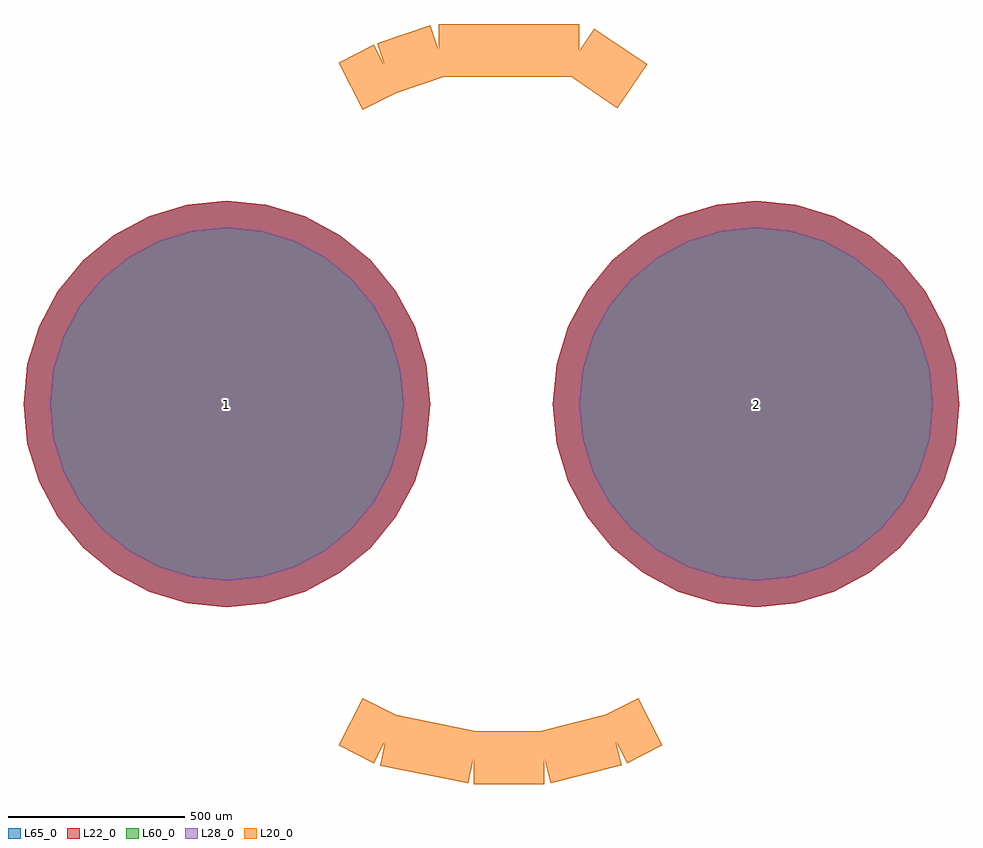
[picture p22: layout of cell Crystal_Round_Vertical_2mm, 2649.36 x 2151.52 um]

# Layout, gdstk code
import gdstk
lib = gdstk.Library(unit=1e-6, precision=1e-09)
def P(c, l, *ps):  # polygons
    for p in ps: c.add(gdstk.Polygon(p, *l))
L20_0 = (20, 0)
L22_0 = (22, 0)
L28_0 = (28, 0)
L60_0 = (60, 0)
L65_0 = (65, 0)

crystal_round_vertical_2 = lib.new_cell('Crystal_Round_Vertical_2mm')
P(crystal_round_vertical_2, L22_0, [(1324.68,0),(1313.624,112.251),(1280.882,220.188),(1227.711,319.664),(1156.155,406.855),(1068.964,478.411),(969.488,531.582),(861.551,564.324),(749.3,575.38),(637.049,564.324),(529.112,531.582),(429.636,478.411),(342.445,406.855),(270.889,319.664),(217.718,220.188),(184.976,112.251),(173.92,0),(184.976,-112.251),(217.718,-220.188),(270.889,-319.664),(342.445,-406.855),(429.636,-478.411),(529.112,-531.582),(637.049,-564.324),(749.3,-575.38),(861.551,-564.324),(969.488,-531.582),(1068.964,-478.411),(1156.155,-406.855),(1227.711,-319.664),(1280.882,-220.188),(1313.624,-112.251)],
  [(-173.92,0),(-184.976,112.251),(-217.718,220.188),(-270.889,319.664),(-342.445,406.855),(-429.636,478.411),(-529.112,531.582),(-637.049,564.324),(-749.3,575.38),(-861.551,564.324),(-969.488,531.582),(-1068.964,478.411),(-1156.155,406.855),(-1227.711,319.664),(-1280.882,220.188),(-1313.624,112.251),(-1324.68,0),(-1313.624,-112.251),(-1280.882,-220.188),(-1227.711,-319.664),(-1156.155,-406.855),(-1068.964,-478.411),(-969.488,-531.582),(-861.551,-564.324),(-749.3,-575.38),(-637.049,-564.324),(-529.112,-531.582),(-429.636,-478.411),(-342.445,-406.855),(-270.889,-319.664),(-217.718,-220.188),(-184.976,-112.251)])
P(crystal_round_vertical_2, L28_0, [(1249.68,0),(1240.065,97.619),(1211.591,191.487),(1165.351,277.996),(1103.122,353.822),(1027.296,416.051),(940.787,462.291),(846.919,490.765),(749.3,500.38),(651.681,490.765),(557.813,462.291),(471.304,416.051),(395.478,353.822),(333.249,277.996),(287.009,191.487),(258.535,97.619),(248.92,0),(258.535,-97.619),(287.009,-191.487),(333.249,-277.996),(395.478,-353.822),(471.304,-416.051),(557.813,-462.291),(651.681,-490.765),(749.3,-500.38),(846.919,-490.765),(940.787,-462.291),(1027.296,-416.051),(1103.122,-353.822),(1165.351,-277.996),(1211.591,-191.487),(1240.065,-97.619)],
  [(-248.92,0),(-258.535,97.619),(-287.009,191.487),(-333.249,277.996),(-395.478,353.822),(-471.304,416.051),(-557.813,462.291),(-651.681,490.765),(-749.3,500.38),(-846.919,490.765),(-940.787,462.291),(-1027.296,416.051),(-1103.122,353.822),(-1165.351,277.996),(-1211.591,191.487),(-1240.065,97.619),(-1249.68,0),(-1240.065,-97.619),(-1211.591,-191.487),(-1165.351,-277.996),(-1103.122,-353.822),(-1027.296,-416.051),(-940.787,-462.291),(-846.919,-490.765),(-749.3,-500.38),(-651.681,-490.765),(-557.813,-462.291),(-471.304,-416.051),(-395.478,-353.822),(-333.249,-277.996),(-287.009,-191.487),(-258.535,-97.619)])
P(crystal_round_vertical_2, L60_0, [(1249.68,0),(1240.065,97.619),(1211.591,191.487),(1165.351,277.996),(1103.122,353.822),(1027.296,416.051),(940.787,462.291),(846.919,490.765),(749.3,500.38),(651.681,490.765),(557.813,462.291),(471.304,416.051),(395.478,353.822),(333.249,277.996),(287.009,191.487),(258.535,97.619),(248.92,0),(258.535,-97.619),(287.009,-191.487),(333.249,-277.996),(395.478,-353.822),(471.304,-416.051),(557.813,-462.291),(651.681,-490.765),(749.3,-500.38),(846.919,-490.765),(940.787,-462.291),(1027.296,-416.051),(1103.122,-353.822),(1165.351,-277.996),(1211.591,-191.487),(1240.065,-97.619)],
  [(-248.92,0),(-258.535,97.619),(-287.009,191.487),(-333.249,277.996),(-395.478,353.822),(-471.304,416.051),(-557.813,462.291),(-651.681,490.765),(-749.3,500.38),(-846.919,490.765),(-940.787,462.291),(-1027.296,416.051),(-1103.122,353.822),(-1165.351,277.996),(-1211.591,191.487),(-1240.065,97.619),(-1249.68,0),(-1240.065,-97.619),(-1211.591,-191.487),(-1165.351,-277.996),(-1103.122,-353.822),(-1027.296,-416.051),(-940.787,-462.291),(-846.919,-490.765),(-749.3,-500.38),(-651.681,-490.765),(-557.813,-462.291),(-471.304,-416.051),(-395.478,-353.822),(-333.249,-277.996),(-287.009,-191.487),(-258.535,-97.619)])
P(crystal_round_vertical_2, L65_0, [(1324.68,0),(1313.624,112.251),(1280.882,220.188),(1227.711,319.664),(1156.155,406.855),(1068.964,478.411),(969.488,531.582),(861.551,564.324),(749.3,575.38),(637.049,564.324),(529.112,531.582),(429.636,478.411),(342.445,406.855),(270.889,319.664),(217.718,220.188),(184.976,112.251),(173.92,0),(184.976,-112.251),(217.718,-220.188),(270.889,-319.664),(342.445,-406.855),(429.636,-478.411),(529.112,-531.582),(637.049,-564.324),(749.3,-575.38),(861.551,-564.324),(969.488,-531.582),(1068.964,-478.411),(1156.155,-406.855),(1227.711,-319.664),(1280.882,-220.188),(1313.624,-112.251)],
  [(-173.92,0),(-184.976,112.251),(-217.718,220.188),(-270.889,319.664),(-342.445,406.855),(-429.636,478.411),(-529.112,531.582),(-637.049,564.324),(-749.3,575.38),(-861.551,564.324),(-969.488,531.582),(-1068.964,478.411),(-1156.155,406.855),(-1227.711,319.664),(-1280.882,220.188),(-1313.624,112.251),(-1324.68,0),(-1313.624,-112.251),(-1280.882,-220.188),(-1227.711,-319.664),(-1156.155,-406.855),(-1068.964,-478.411),(-969.488,-531.582),(-861.551,-564.324),(-749.3,-575.38),(-637.049,-564.324),(-529.112,-531.582),(-429.636,-478.411),(-342.445,-406.855),(-270.889,-319.664),(-217.718,-220.188),(-184.976,-112.251)])
crystal_round_vertical_2.add(gdstk.FlexPath([(-299.72,949.96),(-398.78,899.16)], 149.998, ends="flush", simple_path=True, layer=20, datatype=0))  # L20_0
crystal_round_vertical_2.add(gdstk.FlexPath([(-149.86,1000.76),(-299.72,949.96)], 149.998, ends="flush", simple_path=True, layer=20, datatype=0))  # L20_0
crystal_round_vertical_2.add(gdstk.FlexPath([(50.8,1000.76),(-149.86,1000.76)], 149.998, ends="flush", simple_path=True, layer=20, datatype=0))  # L20_0
crystal_round_vertical_2.add(gdstk.FlexPath([(248.92,1000.76),(50.8,1000.76)], 149.998, ends="flush", simple_path=True, layer=20, datatype=0))  # L20_0
crystal_round_vertical_2.add(gdstk.FlexPath([(398.78,899.16),(248.92,1000.76)], 149.998, ends="flush", simple_path=True, layer=20, datatype=0))  # L20_0
crystal_round_vertical_2.add(gdstk.FlexPath([(-299.72,-949.96),(-398.78,-899.16)], 149.998, ends="flush", simple_path=True, layer=20, datatype=0))  # L20_0
crystal_round_vertical_2.add(gdstk.FlexPath([(-50.8,-1000.76),(-299.72,-949.96)], 149.998, ends="flush", simple_path=True, layer=20, datatype=0))  # L20_0
crystal_round_vertical_2.add(gdstk.FlexPath([(149.86,-1000.76),(-50.8,-1000.76)], 149.998, ends="flush", simple_path=True, layer=20, datatype=0))  # L20_0
crystal_round_vertical_2.add(gdstk.FlexPath([(350.52,-949.96),(149.86,-1000.76)], 149.998, ends="flush", simple_path=True, layer=20, datatype=0))  # L20_0
crystal_round_vertical_2.add(gdstk.FlexPath([(449.58,-899.16),(350.52,-949.96)], 149.998, ends="flush", simple_path=True, layer=20, datatype=0))  # L20_0
crystal_round_vertical_2.add(gdstk.Label('2', (749.3,0), layer=28, texttype=0))
crystal_round_vertical_2.add(gdstk.Label('1', (-749.3,0), layer=28, texttype=0))
crystal_round_vertical_2.add(gdstk.Label('type', (0,-3810), layer=9, texttype=0))
crystal_round_vertical_2.add(gdstk.Label('devicename', (0,3810), layer=9, texttype=0))

lib.write_gds('Crystal_Round_Vertical_2mm.gds')
